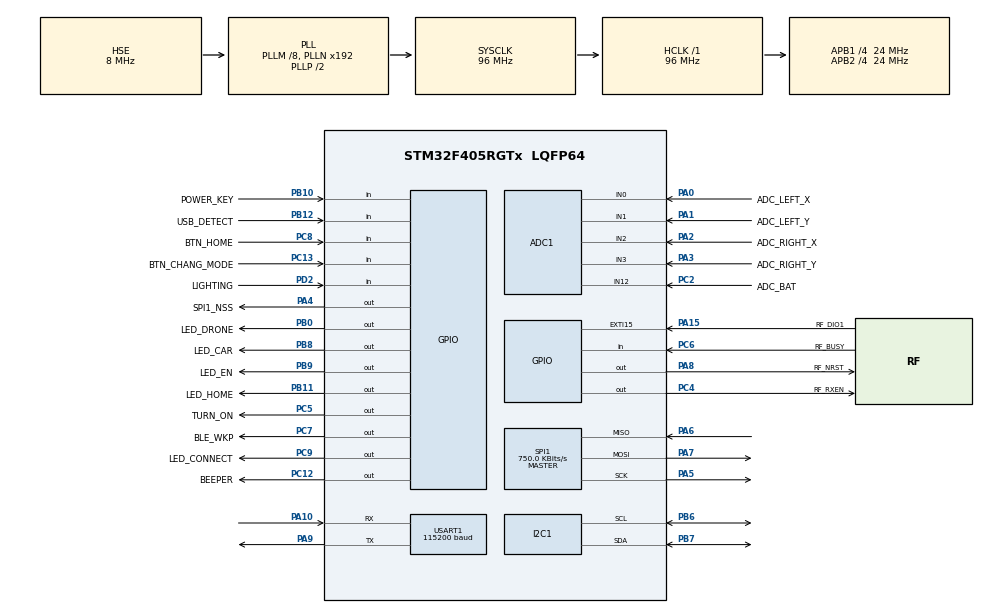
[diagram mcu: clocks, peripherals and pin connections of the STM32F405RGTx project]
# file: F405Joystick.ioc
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ADC1.Channel-0\#ChannelRegularConversion=ADC_CHANNEL_VREFINT
ADC1.Channel-1\#ChannelRegularConversion=ADC_CHANNEL_0
ADC1.Channel-2\#ChannelRegularConversion=ADC_CHANNEL_1
ADC1.Channel-3\#ChannelRegularConversion=ADC_CHANNEL_2
ADC1.Channel-4\#ChannelRegularConversion=ADC_CHANNEL_3
ADC1.Channel-5\#ChannelRegularConversion=ADC_CHANNEL_12
ADC1.ClockPrescaler=ADC_CLOCK_SYNC_PCLK_DIV2
ADC1.ContinuousConvMode=ENABLE
ADC1.DMAContinuousRequests=ENABLE
ADC1.DiscontinuousConvMode=DISABLE
ADC1.EOCSelection=ADC_EOC_SEQ_CONV
ADC1.InjNumberOfConversion=0
ADC1.NbrOfConversion=6
ADC1.NbrOfConversionFlag=1
ADC1.Rank-0\#ChannelRegularConversion=1
ADC1.Rank-1\#ChannelRegularConversion=2
ADC1.Rank-2\#ChannelRegularConversion=3
ADC1.Rank-3\#ChannelRegularConversion=4
ADC1.Rank-4\#ChannelRegularConversion=5
ADC1.Rank-5\#ChannelRegularConversion=6
ADC1.SamplingTime-0\#ChannelRegularConversion=ADC_SAMPLETIME_112CYCLES
ADC1.SamplingTime-1\#ChannelRegularConversion=ADC_SAMPLETIME_15CYCLES
ADC1.SamplingTime-2\#ChannelRegularConversion=ADC_SAMPLETIME_15CYCLES
ADC1.SamplingTime-3\#ChannelRegularConversion=ADC_SAMPLETIME_15CYCLES
ADC1.SamplingTime-4\#ChannelRegularConversion=ADC_SAMPLETIME_15CYCLES
ADC1.SamplingTime-5\#ChannelRegularConversion=ADC_SAMPLETIME_3CYCLES
ADC1.ScanConvMode=ENABLE
ADC1.master=1
Dma.ADC1.1.Direction=DMA_PERIPH_TO_MEMORY
Dma.ADC1.1.FIFOMode=DMA_FIFOMODE_DISABLE
Dma.ADC1.1.Instance=DMA2_Stream0
Dma.ADC1.1.MemDataAlignment=DMA_MDATAALIGN_HALFWORD
Dma.ADC1.1.MemInc=DMA_MINC_ENABLE
Dma.ADC1.1.Mode=DMA_CIRCULAR
Dma.ADC1.1.PeriphDataAlignment=DMA_PDATAALIGN_HALFWORD
Dma.ADC1.1.PeriphInc=DMA_PINC_DISABLE
Dma.ADC1.1.Priority=DMA_PRIORITY_LOW
Dma.Request0=USART1_TX
Dma.Request1=ADC1
Dma.Request2=SPI1_RX
Dma.Request3=SPI1_TX
Dma.SPI1_RX.2.Direction=DMA_PERIPH_TO_MEMORY
Dma.SPI1_RX.2.FIFOMode=DMA_FIFOMODE_DISABLE
Dma.SPI1_RX.2.Instance=DMA2_Stream2
Dma.SPI1_RX.2.MemDataAlignment=DMA_MDATAALIGN_BYTE
Dma.SPI1_RX.2.MemInc=DMA_MINC_ENABLE
Dma.SPI1_RX.2.Mode=DMA_NORMAL
Dma.SPI1_RX.2.PeriphDataAlignment=DMA_PDATAALIGN_BYTE
Dma.SPI1_RX.2.PeriphInc=DMA_PINC_DISABLE
Dma.SPI1_RX.2.Priority=DMA_PRIORITY_VERY_HIGH
Dma.SPI1_TX.3.Direction=DMA_MEMORY_TO_PERIPH
Dma.SPI1_TX.3.FIFOMode=DMA_FIFOMODE_DISABLE
Dma.SPI1_TX.3.Instance=DMA2_Stream3
Dma.SPI1_TX.3.MemDataAlignment=DMA_MDATAALIGN_BYTE
Dma.SPI1_TX.3.MemInc=DMA_MINC_ENABLE
Dma.SPI1_TX.3.Mode=DMA_NORMAL
Dma.SPI1_TX.3.PeriphDataAlignment=DMA_PDATAALIGN_BYTE
Dma.SPI1_TX.3.PeriphInc=DMA_PINC_DISABLE
Dma.SPI1_TX.3.Priority=DMA_PRIORITY_VERY_HIGH
Dma.USART1_TX.0.Direction=DMA_MEMORY_TO_PERIPH
Dma.USART1_TX.0.FIFOMode=DMA_FIFOMODE_DISABLE
Dma.USART1_TX.0.Instance=DMA2_Stream7
Dma.USART1_TX.0.MemDataAlignment=DMA_MDATAALIGN_BYTE
Dma.USART1_TX.0.MemInc=DMA_MINC_ENABLE
Dma.USART1_TX.0.Mode=DMA_NORMAL
Dma.USART1_TX.0.PeriphDataAlignment=DMA_PDATAALIGN_BYTE
Dma.USART1_TX.0.PeriphInc=DMA_PINC_DISABLE
Dma.USART1_TX.0.Priority=DMA_PRIORITY_LOW
FREERTOS.Tasks01=defaultTask,24,8192,StartDefaultTask,Default,NULL,Dynamic,NULL,NULL
FREERTOS.configENABLE_FPU=1
FREERTOS.configTOTAL_HEAP_SIZE=40960
FREERTOS.configUSE_NEWLIB_REENTRANT=1
Mcu.Family=STM32F4
Mcu.Name=STM32F405RGTx
Mcu.Package=LQFP64
NVIC.DMA2_Stream0_IRQn=true\:10\:0\:true\:false\:true\:true\:false\:true\:true
NVIC.DMA2_Stream2_IRQn=true\:5\:0\:false\:false\:true\:true\:false\:true\:true
NVIC.DMA2_Stream3_IRQn=true\:5\:0\:false\:false\:true\:true\:false\:true\:true
NVIC.DMA2_Stream7_IRQn=true\:10\:0\:true\:false\:true\:true\:false\:true\:true
NVIC.EXTI15_10_IRQn=true\:5\:0\:true\:false\:true\:true\:true\:true\:true
NVIC.PriorityGroup=NVIC_PRIORITYGROUP_4
NVIC.SPI1_IRQn=true\:5\:0\:false\:false\:true\:true\:true\:true\:true
NVIC.TIM2_IRQn=true\:6\:0\:true\:false\:true\:false\:false\:true\:true
NVIC.TIM6_DAC_IRQn=true\:5\:0\:true\:false\:true\:true\:true\:true\:true
NVIC.TIM7_IRQn=true\:5\:0\:true\:false\:true\:true\:true\:true\:true
NVIC.TIM8_TRG_COM_TIM14_IRQn=true\:5\:0\:true\:false\:true\:true\:true\:true\:true
NVIC.TIM8_UP_TIM13_IRQn=true\:5\:0\:true\:false\:true\:true\:true\:true\:true
NVIC.TimeBase=TIM2_IRQn
NVIC.TimeBaseIP=TIM2
NVIC.USART1_IRQn=true\:5\:0\:true\:false\:true\:true\:true\:true\:true
PA0-WKUP.GPIO_Label=ADC_LEFT_X
PA0-WKUP.Signal=ADCx_IN0
PA1.GPIO_Label=ADC_LEFT_Y
PA1.Signal=ADCx_IN1
PA10.Mode=Asynchronous
PA10.Signal=USART1_RX
PA13.Mode=Serial_Wire
PA13.Signal=SYS_JTMS-SWDIO
PA14.Mode=Serial_Wire
PA14.Signal=SYS_JTCK-SWCLK
PA15.GPIO_Label=RF_DIO1
PA15.GPIO_ModeDefaultEXTI=GPIO_MODE_IT_RISING
PA15.GPIO_PuPd=GPIO_NOPULL
PA15.Signal=GPXTI15
PA2.GPIO_Label=ADC_RIGHT_X
PA2.Signal=ADCx_IN2
PA3.GPIO_Label=ADC_RIGHT_Y
PA3.Signal=ADCx_IN3
PA4.GPIO_Label=SPI1_NSS
PA4.GPIO_Speed=GPIO_SPEED_FREQ_HIGH
PA4.PinState=GPIO_PIN_SET
PA4.Signal=GPIO_Output
PA5.Mode=Full_Duplex_Master
PA5.Signal=SPI1_SCK
PA6.Mode=Full_Duplex_Master
PA6.Signal=SPI1_MISO
PA7.Mode=Full_Duplex_Master
PA7.Signal=SPI1_MOSI
PA8.GPIO_Label=RF_NRST
PA8.PinState=GPIO_PIN_SET
PA8.Signal=GPIO_Output
PA9.Mode=Asynchronous
PA9.Signal=USART1_TX
PB0.GPIO_Label=LED_DRONE
PB0.Signal=GPIO_Output
PB1.GPIO_Label=LED2812
PB1.GPIO_Speed=GPIO_SPEED_FREQ_HIGH
PB1.Signal=S_TIM3_CH4
PB10.GPIO_Label=POWER_KEY
PB10.Signal=GPIO_Input
PB11.GPIO_Label=LED_HOME
PB11.Signal=GPIO_Output
PB12.GPIO_Label=USB_DETECT
PB12.Signal=GPIO_Input
PB6.Mode=I2C
PB6.Signal=I2C1_SCL
PB7.Mode=I2C
PB7.Signal=I2C1_SDA
PB8.GPIO_Label=LED_CAR
PB8.Signal=GPIO_Output
PB9.GPIO_Label=LED_EN
PB9.Signal=GPIO_Output
PC12.GPIO_Label=BEEPER
PC12.Signal=GPIO_Output
PC13-ANTI_TAMP.GPIO_Label=BTN_CHANG_MODE
PC13-ANTI_TAMP.Signal=GPIO_Input
PC2.GPIO_Label=ADC_BAT
PC2.Signal=ADCx_IN12
PC4.GPIO_Label=RF_RXEN
PC4.GPIO_ModeDefaultOutputPP=GPIO_MODE_OUTPUT_OD
PC4.GPIO_PuPd=GPIO_NOPULL
PC4.PinState=GPIO_PIN_SET
PC4.Signal=GPIO_Output
PC5.GPIO_Label=TURN_ON
PC5.PinState=GPIO_PIN_RESET
PC5.Signal=GPIO_Output
PC6.GPIO_Label=RF_BUSY
PC6.Signal=GPIO_Input
PC7.GPIO_Label=BLE_WKP
PC7.PinState=GPIO_PIN_SET
PC7.Signal=GPIO_Output
PC8.GPIO_Label=BTN_HOME
PC8.Signal=GPIO_Input
PC9.GPIO_Label=LED_CONNECT
PC9.Signal=GPIO_Output
PD2.GPIO_Label=LIGHTING
PD2.Signal=GPIO_Input
PH0-OSC_IN.Mode=HSE-External-Oscillator
PH0-OSC_IN.Signal=RCC_OSC_IN
PH1-OSC_OUT.Mode=HSE-External-Oscillator
PH1-OSC_OUT.Signal=RCC_OSC_OUT
ProjectManager.HeapSize=0x200
ProjectManager.StackSize=0x400
ProjectManager.TargetToolchain=STM32CubeIDE
RCC.48MHZClocksFreq_Value=48000000
RCC.AHBFreq_Value=96000000
RCC.APB1CLKDivider=RCC_HCLK_DIV4
RCC.APB1Freq_Value=24000000
RCC.APB1TimFreq_Value=48000000
RCC.APB2CLKDivider=RCC_HCLK_DIV4
RCC.APB2Freq_Value=24000000
RCC.APB2TimFreq_Value=48000000
RCC.CortexFreq_Value=96000000
RCC.HCLKFreq_Value=96000000
RCC.HSE_VALUE=8000000
RCC.HSI_VALUE=16000000
RCC.LSE_VALUE=32768
RCC.PLLM=8
RCC.PLLSourceVirtual=RCC_PLLSOURCE_HSE
RCC.SYSCLKFreq_VALUE=96000000
RCC.SYSCLKSource=RCC_SYSCLKSOURCE_PLLCLK
RCC.VCOOutputFreq_Value=192000000
SH.ADCx_IN0.0=ADC1_IN0,IN0
SH.ADCx_IN1.0=ADC1_IN1,IN1
SH.ADCx_IN12.0=ADC1_IN12,IN12
SH.ADCx_IN2.0=ADC1_IN2,IN2
SH.ADCx_IN3.0=ADC1_IN3,IN3
SH.S_TIM3_CH4.0=TIM3_CH4
SPI1.BaudRatePrescaler=SPI_BAUDRATEPRESCALER_32
SPI1.CalculateBaudRate=750.0 KBits/s
SPI1.Direction=SPI_DIRECTION_2LINES
SPI1.Mode=SPI_MODE_MASTER
SPI1.VirtualType=VM_MASTER
TIM13.AutoReloadPreload=TIM_AUTORELOAD_PRELOAD_ENABLE
TIM13.Prescaler=4799
TIM14.Period=499
TIM14.Prescaler=47999
TIM6.AutoReloadPreload=TIM_AUTORELOAD_PRELOAD_ENABLE
TIM6.Period=199
TIM6.Prescaler=47999
TIM6.TIM_MasterOutputTrigger=TIM_TRGO_UPDATE
TIM7.AutoReloadPreload=TIM_AUTORELOAD_PRELOAD_ENABLE
TIM7.Period=199
TIM7.Prescaler=47999
TIM7.TIM_MasterOutputTrigger=TIM_TRGO_UPDATE
USART1.BaudRate=115200
USART1.Parity=PARITY_EVEN
USART1.VirtualMode=VM_ASYNC
USART1.WordLength=WORDLENGTH_9B
VP_ADC1_Vref_Input.Mode=IN-Vrefint
VP_CRC_VS_CRC.Mode=CRC_Activate
VP_FREERTOS_VS_CMSIS_V2.Mode=CMSIS_V2
VP_SYS_VS_tim2.Mode=TIM2
VP_TIM13_VS_ClockSourceINT.Mode=Enable_Timer
VP_TIM14_VS_ClockSourceINT.Mode=Enable_Timer
VP_TIM6_VS_ClockSourceINT.Mode=Enable_Timer
VP_TIM6_VS_OPM.Mode=OPM_bit
VP_TIM7_VS_ClockSourceINT.Mode=Enable_Timer
VP_TIM7_VS_OPM.Mode=OPM_bit
board=custom

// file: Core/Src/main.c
/* USER CODE BEGIN Header */
/**
  ******************************************************************************
  * @file           : main.c
  * @brief          : Main program body
  ******************************************************************************
  * @attention
  *
  * Copyright (c) 2025 STMicroelectronics.
  * All rights reserved.
  *
  * This software is licensed under terms that can be found in the LICENSE file
  * in the root directory of this software component.
  * If no LICENSE file comes with this software, it is provided AS-IS.
  *
  ******************************************************************************
  */
/* USER CODE END Header */
#include "main.h"
#include "cmsis_os.h"
#include "adc.h"
#include "crc.h"
#include "dma.h"
#include "i2c.h"
#include "spi.h"
#include "tim.h"
#include "usart.h"
#include "gpio.h"

/* USER CODE BEGIN Includes */
#include "timer.h"
#include <stdio.h>
/* USER CODE END Includes */

/* USER CODE BEGIN PD */
void OnTimer();
/* USER CODE END PD */

void SystemClock_Config(void);
void MX_FREERTOS_Init(void);

/* USER CODE BEGIN 0 */
// 初始化 DWT 微秒计时器（仅需调用一次）
void DWT_Delay_Init(void)
{
    if (!(DWT->CTRL & DWT_CTRL_CYCCNTENA_Msk)) {
        CoreDebug->DEMCR |= CoreDebug_DEMCR_TRCENA_Msk;
        DWT->CYCCNT = 0;
        DWT->CTRL |= DWT_CTRL_CYCCNTENA_Msk;
    }
}
/* USER CODE END 0 */

int main(void)
{

  /* MCU Configuration--------------------------------------------------------*/

  /* Reset of all peripherals, Initializes the Flash interface and the Systick. */
  HAL_Init();

  /* Configure the system clock */
  SystemClock_Config();

  /* USER CODE BEGIN SysInit */
  DWT_Delay_Init();
  /* USER CODE END SysInit */

  /* Initialize all configured peripherals */
  MX_GPIO_Init();
  MX_DMA_Init();
  MX_ADC1_Init();
  MX_USART1_UART_Init();
  MX_I2C1_Init();
  MX_TIM6_Init();
  MX_TIM7_Init();
  MX_TIM13_Init();
  MX_TIM14_Init();
  MX_CRC_Init();
  MX_SPI1_Init();

  /* Init scheduler */
  osKernelInitialize();

  /* Call init function for freertos objects (in cmsis_os2.c) */
  MX_FREERTOS_Init();

  /* Start scheduler */
  osKernelStart();

  /* We should never get here as control is now taken by the scheduler */

  /* Infinite loop */
  while (1)
  {

  }
}

void SystemClock_Config(void)
{
  RCC_OscInitTypeDef RCC_OscInitStruct = {0};
  RCC_ClkInitTypeDef RCC_ClkInitStruct = {0};

  /** Configure the main internal regulator output voltage
  */
  __HAL_RCC_PWR_CLK_ENABLE();
  __HAL_PWR_VOLTAGESCALING_CONFIG(PWR_REGULATOR_VOLTAGE_SCALE1);

  /** Initializes the RCC Oscillators according to the specified parameters
  * in the RCC_OscInitTypeDef structure.
  */
  RCC_OscInitStruct.OscillatorType = RCC_OSCILLATORTYPE_HSE;
  RCC_OscInitStruct.HSEState = RCC_HSE_ON;
  RCC_OscInitStruct.PLL.PLLState = RCC_PLL_ON;
  RCC_OscInitStruct.PLL.PLLSource = RCC_PLLSOURCE_HSE;
  RCC_OscInitStruct.PLL.PLLM = 8;
  RCC_OscInitStruct.PLL.PLLN = 192;
  RCC_OscInitStruct.PLL.PLLP = RCC_PLLP_DIV2;
  RCC_OscInitStruct.PLL.PLLQ = 4;
  if (HAL_RCC_OscConfig(&RCC_OscInitStruct) != HAL_OK)
  {
    Error_Handler();
  }

  /** Initializes the CPU, AHB and APB buses clocks
  */
  RCC_ClkInitStruct.ClockType = RCC_CLOCKTYPE_HCLK|RCC_CLOCKTYPE_SYSCLK
                              |RCC_CLOCKTYPE_PCLK1|RCC_CLOCKTYPE_PCLK2;
  RCC_ClkInitStruct.SYSCLKSource = RCC_SYSCLKSOURCE_PLLCLK;
  RCC_ClkInitStruct.AHBCLKDivider = RCC_SYSCLK_DIV1;
  RCC_ClkInitStruct.APB1CLKDivider = RCC_HCLK_DIV4;
  RCC_ClkInitStruct.APB2CLKDivider = RCC_HCLK_DIV4;

  if (HAL_RCC_ClockConfig(&RCC_ClkInitStruct, FLASH_LATENCY_3) != HAL_OK)
  {
    Error_Handler();
  }
}

/* USER CODE BEGIN 4 */
// 可在任务或中断中使用的微秒延时函数
void delay_us(uint32_t us)
{
    uint32_t start = DWT->CYCCNT;
    uint32_t cycles = (HAL_RCC_GetHCLKFreq() / 1000000) * us;
    while ((DWT->CYCCNT - start) < cycles);
}
/* USER CODE END 4 */

void HAL_TIM_PeriodElapsedCallback(TIM_HandleTypeDef *htim)
{
  if (htim->Instance == TIM2)
  {
    HAL_IncTick();
  }
  /* USER CODE BEGIN Callback 1 */
  HAL_TIM_PeriodElapsedCallback_X(htim);
  if (htim->Instance == TIM14)
  {
	  OnTimer();
  }
  /* USER CODE END Callback 1 */
}

void Error_Handler(void)
{
  /* USER CODE BEGIN Error_Handler_Debug */

	printf("Error_Handler\r\n");
  /* User can add his own implementation to report the HAL error return state */
  __disable_irq();
  while (1)
  {
  }
  /* USER CODE END Error_Handler_Debug */
}

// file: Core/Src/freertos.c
/* USER CODE BEGIN Header */
/**
  ******************************************************************************
  * File Name          : freertos.c
  * Description        : Code for freertos applications
  ******************************************************************************
  * @attention
  *
  * Copyright (c) 2025 STMicroelectronics.
  * All rights reserved.
  *
  * This software is licensed under terms that can be found in the LICENSE file
  * in the root directory of this software component.
  * If no LICENSE file comes with this software, it is provided AS-IS.
  *
  ******************************************************************************
  */
/* USER CODE END Header */

#include "FreeRTOS.h"
#include "task.h"
#include "main.h"
#include "cmsis_os.h"

/* USER CODE BEGIN Includes */
#include "Application.h"

/* USER CODE END Includes */

/* USER CODE BEGIN PM */
#define DelayMs(x)  osDelay(pdMS_TO_TICKS(x))
/* USER CODE END PM */

/* Definitions for defaultTask */
osThreadId_t defaultTaskHandle;
const osThreadAttr_t defaultTask_attributes = {
  .name = "defaultTask",
  .stack_size = 8192 * 4,
  .priority = (osPriority_t) osPriorityNormal,
};

void StartDefaultTask(void *argument);

void MX_FREERTOS_Init(void); /* (MISRA C 2004 rule 8.1) */

void MX_FREERTOS_Init(void) {

  /* Create the thread(s) */
  /* creation of defaultTask */
  defaultTaskHandle = osThreadNew(StartDefaultTask, NULL, &defaultTask_attributes);

}

void StartDefaultTask(void *argument)
{
  /* USER CODE BEGIN StartDefaultTask */

	Application.Init();

    // Target board initialization

  /* Infinite loop */
  for(;;)
  {

	  Application.Loop();

  }
  /* USER CODE END StartDefaultTask */
}
